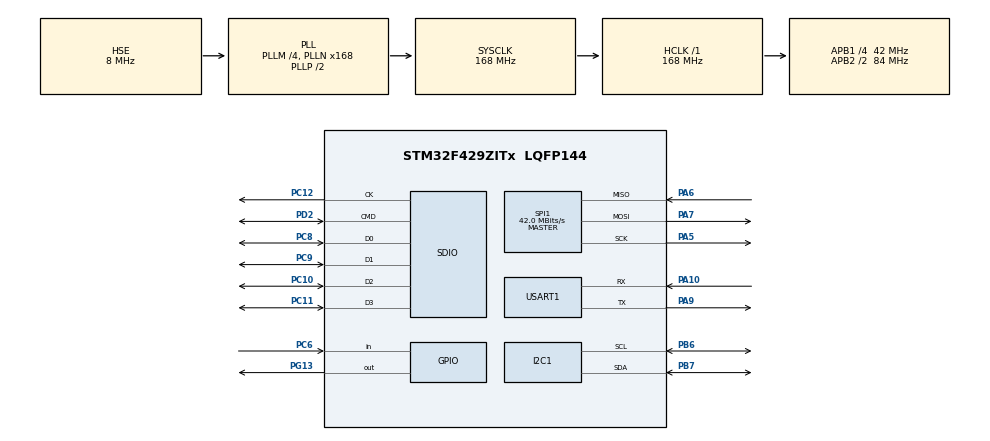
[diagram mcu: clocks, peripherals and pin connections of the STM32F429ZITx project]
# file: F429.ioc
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FATFS._MAX_SS=4096
FATFS._MIN_SS=512
Mcu.Family=STM32F4
Mcu.Name=STM32F429ZITx
Mcu.Package=LQFP144
NVIC.I2C1_EV_IRQn=true\:1\:0\:true\:false\:true\:true
NVIC.PriorityGroup=NVIC_PRIORITYGROUP_4
NVIC.RCC_IRQn=true\:0\:0\:true\:false\:true\:true
NVIC.SDIO_IRQn=true\:4\:0\:true\:false\:true\:true
NVIC.SPI1_IRQn=true\:2\:0\:true\:false\:true\:true
NVIC.USART1_IRQn=true\:3\:0\:true\:false\:true\:true
PA10.Mode=Asynchronous
PA10.Signal=USART1_RX
PA13.Mode=Serial_Wire
PA13.Signal=SYS_JTMS-SWDIO
PA14.Mode=Serial_Wire
PA14.Signal=SYS_JTCK-SWCLK
PA5.Mode=Full_Duplex_Master
PA5.Signal=SPI1_SCK
PA6.Mode=Full_Duplex_Master
PA6.Signal=SPI1_MISO
PA7.Mode=Full_Duplex_Master
PA7.Signal=SPI1_MOSI
PA9.Mode=Asynchronous
PA9.Signal=USART1_TX
PB6.Mode=I2C
PB6.Signal=I2C1_SCL
PB7.Mode=I2C
PB7.Signal=I2C1_SDA
PC10.GPIO_PuPd=GPIO_PULLUP
PC10.Mode=SD_4_bits_Wide_bus
PC10.Signal=SDIO_D2
PC11.GPIO_PuPd=GPIO_PULLUP
PC11.Mode=SD_4_bits_Wide_bus
PC11.Signal=SDIO_D3
PC12.Mode=SD_4_bits_Wide_bus
PC12.Signal=SDIO_CK
PC6.Signal=GPIO_Input
PC8.GPIO_PuPd=GPIO_PULLUP
PC8.Mode=SD_4_bits_Wide_bus
PC8.Signal=SDIO_D0
PC9.GPIO_PuPd=GPIO_PULLUP
PC9.Mode=SD_4_bits_Wide_bus
PC9.Signal=SDIO_D1
PD2.GPIO_PuPd=GPIO_PULLUP
PD2.Mode=SD_4_bits_Wide_bus
PD2.Signal=SDIO_CMD
PG13.Signal=GPIO_Output
PH0/OSC_IN.Mode=HSE-External-Oscillator
PH0/OSC_IN.Signal=RCC_OSC_IN
PH1/OSC_OUT.Mode=HSE-External-Oscillator
PH1/OSC_OUT.Signal=RCC_OSC_OUT
ProjectManager.HeapSize=0x200
ProjectManager.StackSize=0x400
ProjectManager.TargetToolchain=MDK-ARM V5
RCC.48MHZClocksFreq_Value=48000000
RCC.AHBFreq_Value=168000000
RCC.APB1CLKDivider=RCC_HCLK_DIV4
RCC.APB1Freq_Value=42000000
RCC.APB1TimFreq_Value=84000000
RCC.APB2CLKDivider=RCC_HCLK_DIV2
RCC.APB2Freq_Value=84000000
RCC.APB2TimFreq_Value=168000000
RCC.CortexFreq_Value=168000000
RCC.HCLKFreq_Value=168000000
RCC.HSE_VALUE=8000000
RCC.HSI_VALUE=16000000
RCC.LSE_VALUE=32768
RCC.PLLM=4
RCC.PLLN=168
RCC.PLLQ=7
RCC.PLLSourceVirtual=RCC_PLLSOURCE_HSE
RCC.SYSCLKFreq_VALUE=168000000
RCC.SYSCLKSource=RCC_SYSCLKSOURCE_PLLCLK
RCC.VCOOutputFreq_Value=336000000
SPI1.BaudRatePrescaler=SPI_BAUDRATEPRESCALER_2
SPI1.CalculateBaudRate=42.0 MBits/s
SPI1.Direction=SPI_DIRECTION_2LINES
SPI1.Mode=SPI_MODE_MASTER
SPI1.VirtualType=VM_MASTER
USART1.VirtualMode=VM_ASYNC
VP_FATFS_VS_SDIO.Mode=SDIO
board=F429

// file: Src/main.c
/**
  ******************************************************************************
  * @file           : main.c
  * @brief          : Main program body
  ******************************************************************************
  * This notice applies to any and all portions of this file
  * that are not between comment pairs USER CODE BEGIN and
  * USER CODE END. Other portions of this file, whether
  * inserted by the user or by software development tools
  * are owned by their respective copyright owners.
  *
  * Copyright (c) 2018 STMicroelectronics International N.V.
  * All rights reserved.
  *
  * Redistribution and use in source and binary forms, with or without
  * modification, are permitted, provided that the following conditions are met:
  *
  * 1. Redistribution of source code must retain the above copyright notice,
  *    this list of conditions and the following disclaimer.
  * 2. Redistributions in binary form must reproduce the above copyright notice,
  *    this list of conditions and the following disclaimer in the documentation
  *    and/or other materials provided with the distribution.
  * 3. Neither the name of STMicroelectronics nor the names of other
  *    contributors to this software may be used to endorse or promote products
  *    derived from this software without specific written permission.
  * 4. This software, including modifications and/or derivative works of this
  *    software, must execute solely and exclusively on microcontroller or
  *    microprocessor devices manufactured by or for STMicroelectronics.
  * 5. Redistribution and use of this software other than as permitted under
  *    this license is void and will automatically terminate your rights under
  *    this license.
  *
  * THIS SOFTWARE IS PROVIDED BY STMICROELECTRONICS AND CONTRIBUTORS "AS IS"
  * AND ANY EXPRESS, IMPLIED OR STATUTORY WARRANTIES, INCLUDING, BUT NOT
  * LIMITED TO, THE IMPLIED WARRANTIES OF MERCHANTABILITY, FITNESS FOR A
  * PARTICULAR PURPOSE AND NON-INFRINGEMENT OF THIRD PARTY INTELLECTUAL PROPERTY
  * RIGHTS ARE DISCLAIMED TO THE FULLEST EXTENT PERMITTED BY LAW. IN NO EVENT
  * SHALL STMICROELECTRONICS OR CONTRIBUTORS BE LIABLE FOR ANY DIRECT, INDIRECT,
  * INCIDENTAL, SPECIAL, EXEMPLARY, OR CONSEQUENTIAL DAMAGES (INCLUDING, BUT NOT
  * LIMITED TO, PROCUREMENT OF SUBSTITUTE GOODS OR SERVICES; LOSS OF USE, DATA,
  * OR PROFITS; OR BUSINESS INTERRUPTION) HOWEVER CAUSED AND ON ANY THEORY OF
  * LIABILITY, WHETHER IN CONTRACT, STRICT LIABILITY, OR TORT (INCLUDING
  * NEGLIGENCE OR OTHERWISE) ARISING IN ANY WAY OUT OF THE USE OF THIS SOFTWARE,
  * EVEN IF ADVISED OF THE POSSIBILITY OF SUCH DAMAGE.
  *
  ******************************************************************************
  */
#include "main.h"
#include "stm32f4xx_hal.h"
#include "fatfs.h"

I2C_HandleTypeDef hi2c1;

SD_HandleTypeDef hsd;

SPI_HandleTypeDef hspi1;

UART_HandleTypeDef huart1;

/* USER CODE BEGIN PV */
/* Private variables ---------------------------------------------------------*/
	uint32_t byteswritten, bytesread;
	FRESULT result;
	extern char SDPath[4]; 	/* logical drive path */
	FATFS SDFatFs; 					/* file system */
	FATFS *fs;							/* pointer to the file system */
	FIL MyFile;
/* USER CODE END PV */

void SystemClock_Config(void);
static void MX_GPIO_Init(void);
static void MX_SDIO_SD_Init(void);
static void MX_I2C1_Init(void);
static void MX_USART1_UART_Init(void);
static void MX_SPI1_Init(void);

/* USER CODE BEGIN PFP */
/* Private function prototypes -----------------------------------------------*/

/* USER CODE END PFP */

int main(void)
{

  /* MCU Configuration----------------------------------------------------------*/

  /* Reset of all peripherals, Initializes the Flash interface and the Systick. */
  HAL_Init();

  /* Configure the system clock */
  SystemClock_Config();

  /* Initialize all configured peripherals */
  MX_GPIO_Init();
  MX_SDIO_SD_Init();
  MX_I2C1_Init();
  MX_USART1_UART_Init();
  MX_SPI1_Init();
  MX_FATFS_Init();
  /* USER CODE BEGIN 2 */
	HAL_SD_Init(&hsd);

	while (HAL_GPIO_ReadPin(GPIOC, GPIO_PIN_6) == GPIO_PIN_SET)
	{
		HAL_GPIO_TogglePin(GPIOG, GPIO_PIN_13);
		HAL_Delay(100);
	}

	uint8_t pData[500], rData[500];
	uint32_t block = 0;

	for (int i = 0; i < 500; i++)
		pData[i] = i;

	HAL_SD_CardStatusTypeDef st;
	HAL_SD_GetCardStatus(&hsd, &st);

	uint8_t wtext[]="Hello there!";

	disk_initialize(SDFatFs.drv);
	if( (result = f_mount(&SDFatFs, (TCHAR const*)SDPath, 0)) != FR_OK)
  {
    Error_Handler();
  }
  else
  {
		//DSTATUS st = SD_Status(SDFatFs.drv);
		result = f_open(&MyFile, "mywrite.txt", FA_WRITE | FA_CREATE_ALWAYS);
    if( result != FR_OK)
		{
			Error_Handler();
		}
		else
		{
//			result = f_write(&MyFile,wtext,sizeof(wtext),(void*)&byteswritten);
//			if((byteswritten==0)||(result != FR_OK))
//			{
//				Error_Handler();
//			}
			HAL_GPIO_WritePin(GPIOG, GPIO_PIN_13, GPIO_PIN_SET);
			f_close(&MyFile);
		}
  }

  /* USER CODE END 2 */

  /* Infinite loop */
  while (1)
  {

  }

}

void SystemClock_Config(void)
{

  RCC_OscInitTypeDef RCC_OscInitStruct;
  RCC_ClkInitTypeDef RCC_ClkInitStruct;

    /**Configure the main internal regulator output voltage
    */
  __HAL_RCC_PWR_CLK_ENABLE();

  __HAL_PWR_VOLTAGESCALING_CONFIG(PWR_REGULATOR_VOLTAGE_SCALE1);

    /**Initializes the CPU, AHB and APB busses clocks
    */
  RCC_OscInitStruct.OscillatorType = RCC_OSCILLATORTYPE_HSE;
  RCC_OscInitStruct.HSEState = RCC_HSE_ON;
  RCC_OscInitStruct.PLL.PLLState = RCC_PLL_ON;
  RCC_OscInitStruct.PLL.PLLSource = RCC_PLLSOURCE_HSE;
  RCC_OscInitStruct.PLL.PLLM = 4;
  RCC_OscInitStruct.PLL.PLLN = 168;
  RCC_OscInitStruct.PLL.PLLP = RCC_PLLP_DIV2;
  RCC_OscInitStruct.PLL.PLLQ = 7;
  if (HAL_RCC_OscConfig(&RCC_OscInitStruct) != HAL_OK)
  {
    _Error_Handler(__FILE__, __LINE__);
  }

    /**Initializes the CPU, AHB and APB busses clocks
    */
  RCC_ClkInitStruct.ClockType = RCC_CLOCKTYPE_HCLK|RCC_CLOCKTYPE_SYSCLK
                              |RCC_CLOCKTYPE_PCLK1|RCC_CLOCKTYPE_PCLK2;
  RCC_ClkInitStruct.SYSCLKSource = RCC_SYSCLKSOURCE_PLLCLK;
  RCC_ClkInitStruct.AHBCLKDivider = RCC_SYSCLK_DIV1;
  RCC_ClkInitStruct.APB1CLKDivider = RCC_HCLK_DIV4;
  RCC_ClkInitStruct.APB2CLKDivider = RCC_HCLK_DIV2;

  if (HAL_RCC_ClockConfig(&RCC_ClkInitStruct, FLASH_LATENCY_5) != HAL_OK)
  {
    _Error_Handler(__FILE__, __LINE__);
  }

    /**Configure the Systick interrupt time
    */
  HAL_SYSTICK_Config(HAL_RCC_GetHCLKFreq()/1000);

    /**Configure the Systick
    */
  HAL_SYSTICK_CLKSourceConfig(SYSTICK_CLKSOURCE_HCLK);

  /* SysTick_IRQn interrupt configuration */
  HAL_NVIC_SetPriority(SysTick_IRQn, 0, 0);
}

/* I2C1 init function */
static void MX_I2C1_Init(void)
{

  hi2c1.Instance = I2C1;
  hi2c1.Init.ClockSpeed = 100000;
  hi2c1.Init.DutyCycle = I2C_DUTYCYCLE_2;
  hi2c1.Init.OwnAddress1 = 0;
  hi2c1.Init.AddressingMode = I2C_ADDRESSINGMODE_7BIT;
  hi2c1.Init.DualAddressMode = I2C_DUALADDRESS_DISABLE;
  hi2c1.Init.OwnAddress2 = 0;
  hi2c1.Init.GeneralCallMode = I2C_GENERALCALL_DISABLE;
  hi2c1.Init.NoStretchMode = I2C_NOSTRETCH_DISABLE;
  if (HAL_I2C_Init(&hi2c1) != HAL_OK)
  {
    _Error_Handler(__FILE__, __LINE__);
  }

}

/* SDIO init function */
static void MX_SDIO_SD_Init(void)
{

  hsd.Instance = SDIO;
  hsd.Init.ClockEdge = SDIO_CLOCK_EDGE_RISING;
  hsd.Init.ClockBypass = SDIO_CLOCK_BYPASS_DISABLE;
  hsd.Init.ClockPowerSave = SDIO_CLOCK_POWER_SAVE_DISABLE;
  hsd.Init.BusWide = SDIO_BUS_WIDE_1B;
  hsd.Init.HardwareFlowControl = SDIO_HARDWARE_FLOW_CONTROL_DISABLE;
  hsd.Init.ClockDiv = 0;

}

/* SPI1 init function */
static void MX_SPI1_Init(void)
{

  /* SPI1 parameter configuration*/
  hspi1.Instance = SPI1;
  hspi1.Init.Mode = SPI_MODE_MASTER;
  hspi1.Init.Direction = SPI_DIRECTION_2LINES;
  hspi1.Init.DataSize = SPI_DATASIZE_8BIT;
  hspi1.Init.CLKPolarity = SPI_POLARITY_LOW;
  hspi1.Init.CLKPhase = SPI_PHASE_1EDGE;
  hspi1.Init.NSS = SPI_NSS_SOFT;
  hspi1.Init.BaudRatePrescaler = SPI_BAUDRATEPRESCALER_2;
  hspi1.Init.FirstBit = SPI_FIRSTBIT_MSB;
  hspi1.Init.TIMode = SPI_TIMODE_DISABLE;
  hspi1.Init.CRCCalculation = SPI_CRCCALCULATION_DISABLE;
  hspi1.Init.CRCPolynomial = 10;
  if (HAL_SPI_Init(&hspi1) != HAL_OK)
  {
    _Error_Handler(__FILE__, __LINE__);
  }

}

/* USART1 init function */
static void MX_USART1_UART_Init(void)
{

  huart1.Instance = USART1;
  huart1.Init.BaudRate = 115200;
  huart1.Init.WordLength = UART_WORDLENGTH_8B;
  huart1.Init.StopBits = UART_STOPBITS_1;
  huart1.Init.Parity = UART_PARITY_NONE;
  huart1.Init.Mode = UART_MODE_TX_RX;
  huart1.Init.HwFlowCtl = UART_HWCONTROL_NONE;
  huart1.Init.OverSampling = UART_OVERSAMPLING_16;
  if (HAL_UART_Init(&huart1) != HAL_OK)
  {
    _Error_Handler(__FILE__, __LINE__);
  }

}

/** Configure pins as
        * Analog
        * Input
        * Output
        * EVENT_OUT
        * EXTI
*/
static void MX_GPIO_Init(void)
{

  GPIO_InitTypeDef GPIO_InitStruct;

  /* GPIO Ports Clock Enable */
  __HAL_RCC_GPIOH_CLK_ENABLE();
  __HAL_RCC_GPIOA_CLK_ENABLE();
  __HAL_RCC_GPIOC_CLK_ENABLE();
  __HAL_RCC_GPIOD_CLK_ENABLE();
  __HAL_RCC_GPIOG_CLK_ENABLE();
  __HAL_RCC_GPIOB_CLK_ENABLE();

  /*Configure GPIO pin Output Level */
  HAL_GPIO_WritePin(GPIOG, GPIO_PIN_13, GPIO_PIN_RESET);

  /*Configure GPIO pin : PC6 */
  GPIO_InitStruct.Pin = GPIO_PIN_6;
  GPIO_InitStruct.Mode = GPIO_MODE_INPUT;
  GPIO_InitStruct.Pull = GPIO_NOPULL;
  HAL_GPIO_Init(GPIOC, &GPIO_InitStruct);

  /*Configure GPIO pin : PG13 */
  GPIO_InitStruct.Pin = GPIO_PIN_13;
  GPIO_InitStruct.Mode = GPIO_MODE_OUTPUT_PP;
  GPIO_InitStruct.Pull = GPIO_NOPULL;
  GPIO_InitStruct.Speed = GPIO_SPEED_FREQ_LOW;
  HAL_GPIO_Init(GPIOG, &GPIO_InitStruct);

}

void _Error_Handler(char *file, int line)
{
  /* USER CODE BEGIN Error_Handler_Debug */
  /* User can add his own implementation to report the HAL error return state */
	printf("Error_Handler exception\n");
  while(1)
  {
  }
  /* USER CODE END Error_Handler_Debug */
}

/************************ (C) COPYRIGHT STMicroelectronics *****END OF FILE****/
